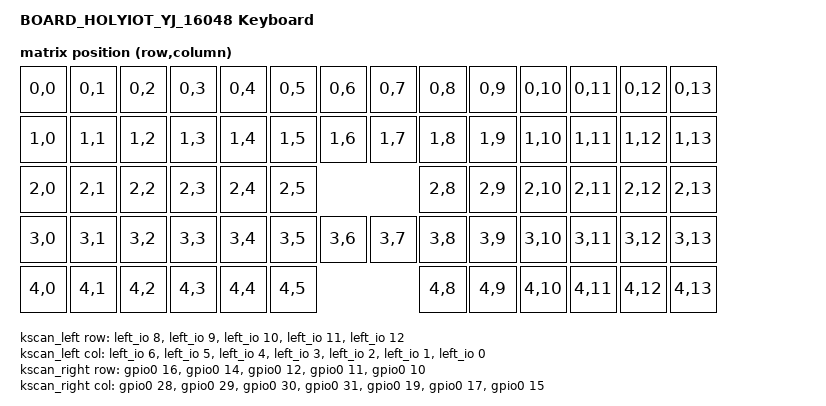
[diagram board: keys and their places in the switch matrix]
/*
 * Copyright (c) 2020 The ZMK Contributors
 *
 * SPDX-License-Identifier: MIT
 */

/dts-v1/;
#include <nordic/nrf52832_qfaa.dtsi>
#include <dt-bindings/zmk/matrix_transform.h>

/ {
    model = "BOARD_HOLYIOT_YJ_16048 Keyboard";
	compatible = "holyiot_yj_16048", "nordic,nrf52832-qfaa", "nordic,nrf52832";

	chosen {
		zephyr,sram = &sram0;
		zephyr,flash = &flash0;
        	zephyr,code-partition = &slot0_partition;
        	zmk,kscan = &kscan;
        	zmk,matrix-transform = &transform;
        	zmk,battery = &vbatt;
	};

    transform: transform {
        compatible = "zmk,matrix-transform";
        rows = <5>;
        columns = <14>;

        map = <
        RC(0,0) RC(0,1) RC(0,2) RC(0,3) RC(0,4) RC(0,5) RC(0,6)     RC(0,7) RC(0,8) RC(0,9) RC(0,10) RC(0,11) RC(0,12) RC(0,13)
        RC(1,0) RC(1,1) RC(1,2) RC(1,3) RC(1,4) RC(1,5) RC(1,6)     RC(1,7) RC(1,8) RC(1,9) RC(1,10) RC(1,11) RC(1,12) RC(1,13)
        RC(2,0) RC(2,1) RC(2,2) RC(2,3) RC(2,4) RC(2,5)                     RC(2,8) RC(2,9) RC(2,10) RC(2,11) RC(2,12) RC(2,13)
        RC(3,0) RC(3,1) RC(3,2) RC(3,3) RC(3,4) RC(3,5) RC(3,6)     RC(3,7) RC(3,8) RC(3,9) RC(3,10) RC(3,11) RC(3,12) RC(3,13)
        RC(4,0) RC(4,1) RC(4,2) RC(4,3) RC(4,4) RC(4,5)                     RC(4,8) RC(4,9) RC(4,10) RC(4,11) RC(4,12) RC(4,13)
        >;
    };

    kscan: kscan {
        compatible = "zmk,kscan-composite";
        rows = <5>;
        columns = <14>;

        left {
            kscan = <&kscan_left>;
        };

        right {
            kscan = <&kscan_right>;
            column-offset = <7>;
        };
    };

    kscan_left: kscan_left {
        compatible = "zmk,kscan-gpio-matrix";

        diode-direction = "col2row";

        // todo
        col-gpios
        = <&left_io 6 (GPIO_ACTIVE_LOW)>
        , <&left_io 5 (GPIO_ACTIVE_LOW)>
        , <&left_io 4 (GPIO_ACTIVE_LOW)>
        , <&left_io 3 (GPIO_ACTIVE_LOW)>
        , <&left_io 2 (GPIO_ACTIVE_LOW)>
        , <&left_io 1 (GPIO_ACTIVE_LOW)>
        , <&left_io 0 (GPIO_ACTIVE_LOW)>
        ;
        row-gpios
        = <&left_io 8  (GPIO_ACTIVE_LOW | GPIO_PULL_UP)>
        , <&left_io 9  (GPIO_ACTIVE_LOW | GPIO_PULL_UP)>
        , <&left_io 10 (GPIO_ACTIVE_LOW | GPIO_PULL_UP)>
        , <&left_io 11 (GPIO_ACTIVE_LOW | GPIO_PULL_UP)>
        , <&left_io 12 (GPIO_ACTIVE_LOW | GPIO_PULL_UP)>
        ;
    };

    kscan_right: kscan_right {
        compatible = "zmk,kscan-gpio-matrix";

        diode-direction = "col2row";

        // todo
        col-gpios
        = <&gpio0 28 (GPIO_ACTIVE_LOW)>
        , <&gpio0 29 (GPIO_ACTIVE_LOW)>
        , <&gpio0 30 (GPIO_ACTIVE_LOW)>
        , <&gpio0 31 (GPIO_ACTIVE_LOW)>
        , <&gpio0 19 (GPIO_ACTIVE_LOW)>
        , <&gpio0 17 (GPIO_ACTIVE_LOW)>
        , <&gpio0 15 (GPIO_ACTIVE_LOW)>
        ;
        row-gpios
        = <&gpio0 16  (GPIO_ACTIVE_LOW | GPIO_PULL_UP)>
        , <&gpio0 14  (GPIO_ACTIVE_LOW | GPIO_PULL_UP)>
        , <&gpio0 12  (GPIO_ACTIVE_LOW | GPIO_PULL_UP)>
        , <&gpio0 11  (GPIO_ACTIVE_LOW | GPIO_PULL_UP)>
        , <&gpio0 10  (GPIO_ACTIVE_LOW | GPIO_PULL_UP)>
        ;
    };

/*
    vbatt: vbatt {
        compatible = "zmk,battery-voltage-divider";
        io-channels = <&adc 2>;
        output-ohms = <2000000>;
        full-ohms = <(2000000 + 806000)>;
    };
*/
};

&uicr {
    nfct-pins-as-gpios;
    gpio-as-nreset;
};

&adc {
	status ="okay";
};

&gpiote {
	status = "okay";
};

&gpio0 {
	status = "okay";
};

&flash0 {
	/*https://docs.zephyrproject.org/latest/build/dts/api/bindings/mtd/fixed-partitions.html*/
	partitions {
		compatible = "fixed-partitions";
		#address-cells = <0x1>;
		#size-cells = <0x1>;

		boot_partition: partition@0 {
			label = "mcuboot";
			reg = <0x00000000 0xc000>;
		};
		slot0_partition: partition@c000 {
			label = "image-0";
			reg = <0x0000C000 0x32000>;
		};
		slot1_partition: partition@3e000 {
			label = "image-1";
			reg = <0x0003E000 0x32000>;
		};
		scratch_partition: partition@70000 {
			label = "image-scratch";
			reg = <0x00070000 0xa000>;
		};
		storage_partition: partition@7a000 {
			label = "storage";
			reg = <0x0007a000 0x00006000>;
		};
	};
};
